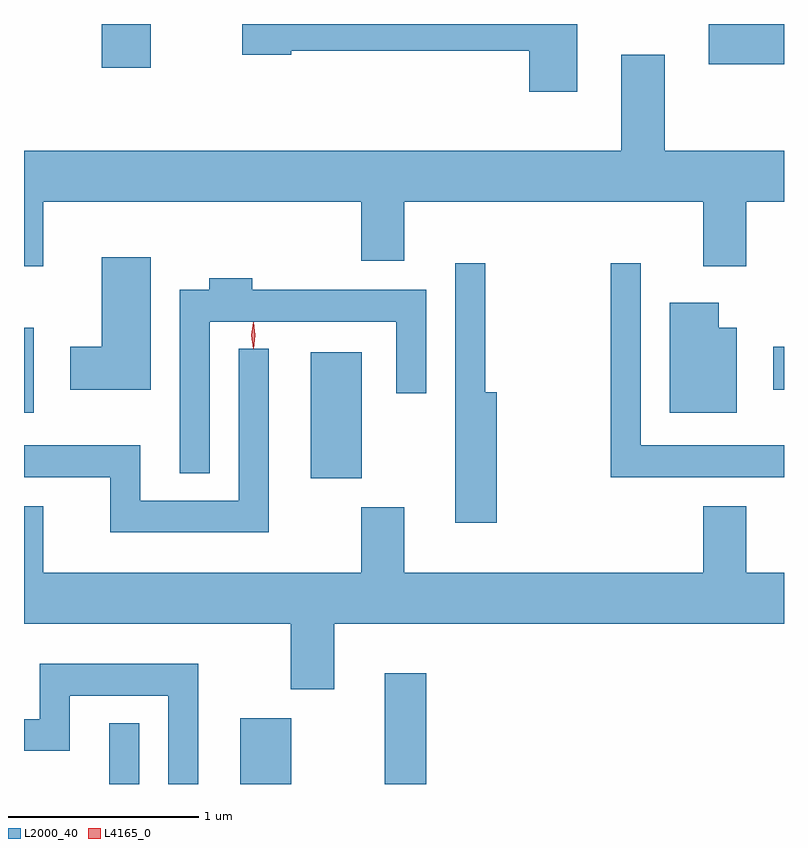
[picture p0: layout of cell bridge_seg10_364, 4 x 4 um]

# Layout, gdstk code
import gdstk
lib = gdstk.Library(unit=1e-6, precision=1e-09)
def R(c, l, rs):  # rectangles x0, y0, x1, y1
    for r in rs: c.add(gdstk.rectangle(r[:2], r[2:], *l))
def P(c, l, *ps):  # polygons
    for p in ps: c.add(gdstk.Polygon(p, *l))
L2000_40 = (2000, 40)
L4165_0 = (4165, 0)

bridge_seg10_364 = lib.new_cell('bridge_seg10_364')
R(bridge_seg10_364, L2000_40, [(1061.126,2130.832,1061.284,2131.153), (1061.816,2130.832,1062.084,2131.179), (1062.576,2130.832,1062.794,2131.414), (1062.186,2132.441,1062.454,2133.104), (1060.677,2132.786,1060.729,2133.234), (1064.621,2132.906,1064.677,2133.134), (1061.086,2134.601,1061.344,2134.832), (1064.281,2134.621,1064.677,2134.832)])
P(bridge_seg10_364, L2000_40, [(1063.589,2134.832),(1061.826,2134.832),(1061.826,2134.671),(1062.084,2134.671),(1062.084,2134.691),(1063.336,2134.691),(1063.336,2134.476),(1063.589,2134.476)],
  [(1060.779,2133.896),(1062.451,2133.896),(1062.451,2133.586),(1062.679,2133.586),(1062.679,2133.896),(1064.251,2133.896),(1064.251,2133.556),(1064.479,2133.556),(1064.479,2133.896),(1064.677,2133.896),(1064.677,2134.164),(1064.049,2134.164),(1064.049,2134.669),(1063.821,2134.669),(1063.821,2134.164),(1060.677,2134.164),(1060.677,2133.556),(1060.779,2133.556)],
  [(1061.344,2133.604),(1061.086,2133.604),(1061.086,2133.134),(1060.921,2133.134),(1060.921,2132.906),(1061.344,2132.906)],
  [(1063.164,2132.894),(1063.104,2132.894),(1063.104,2133.573),(1062.946,2133.573),(1062.946,2132.206),(1063.164,2132.206)],
  [(1064.677,2132.614),(1063.924,2132.614),(1063.924,2133.573),(1063.766,2133.573),(1063.766,2132.446),(1064.677,2132.446)],
  [(1061.654,2133.266),(1062.636,2133.266),(1062.636,2132.888),(1062.794,2132.888),(1062.794,2133.434),(1061.879,2133.434),(1061.879,2133.494),(1061.651,2133.494),(1061.651,2133.434),(1061.496,2133.434),(1061.496,2132.468),(1061.654,2132.468)],
  [(1064.429,2133.234),(1064.334,2133.234),(1064.334,2133.364),(1064.076,2133.364),(1064.076,2132.786),(1064.429,2132.786)],
  [(1061.964,2133.123),(1061.806,2133.123),(1061.806,2132.324),(1061.289,2132.324),(1061.289,2132.614),(1060.677,2132.614),(1060.677,2132.446),(1061.131,2132.446),(1061.131,2132.156),(1061.964,2132.156)],
  [(1062.309,2131.676),(1064.677,2131.676),(1064.677,2131.944),(1064.479,2131.944),(1064.479,2132.294),(1064.251,2132.294),(1064.251,2131.944),(1062.679,2131.944),(1062.679,2132.289),(1062.451,2132.289),(1062.451,2131.944),(1060.779,2131.944),(1060.779,2132.294),(1060.677,2132.294),(1060.677,2131.676),(1062.081,2131.676),(1062.081,2131.331),(1062.309,2131.331)],
  [(1061.594,2131.464),(1060.761,2131.464),(1060.761,2131.174),(1060.677,2131.174),(1060.677,2131.006),(1060.919,2131.006),(1060.919,2131.296),(1061.436,2131.296),(1061.436,2130.832),(1061.594,2130.832)])
P(bridge_seg10_364, L4165_0, [(1061.885,2133.127),(1061.885,2133.128),(1061.875,2133.194),(1061.885,2133.26),(1061.885,2133.261),(1061.886,2133.26),(1061.895,2133.194),(1061.886,2133.128)],
  [(1061.884,2133.124),(1061.884,2133.124),(1061.874,2133.193),(1061.884,2133.262),(1061.884,2133.263),(1061.885,2133.262),(1061.894,2133.193),(1061.885,2133.124)])

lib.write_gds('bridge_seg10_364.gds')
